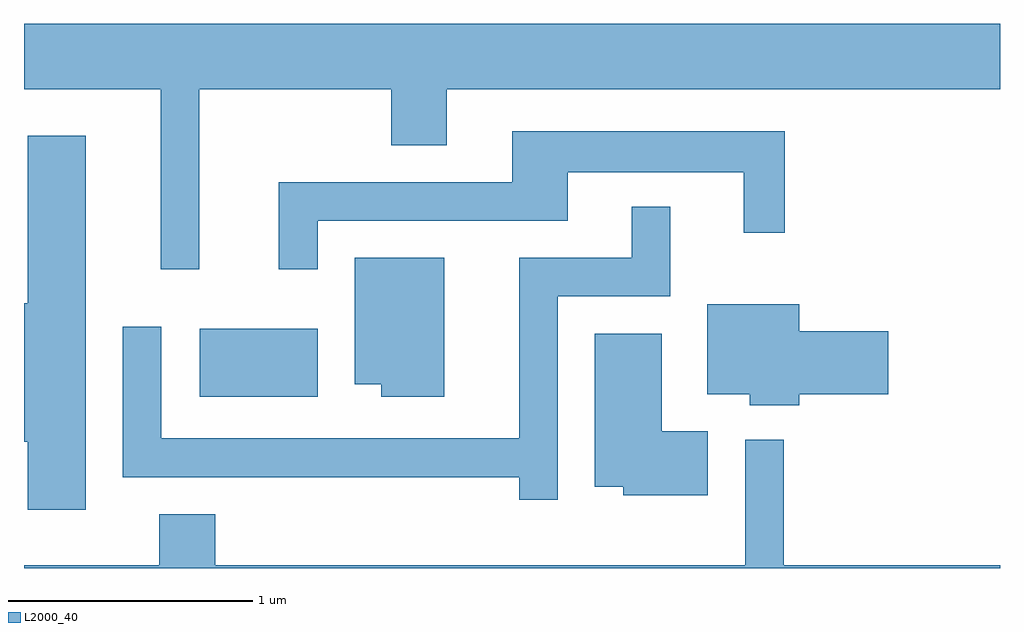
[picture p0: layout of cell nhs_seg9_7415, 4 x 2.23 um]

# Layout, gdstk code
import gdstk
lib = gdstk.Library(unit=1e-6, precision=1e-09)
def R(c, l, rs):  # rectangles x0, y0, x1, y1
    for r in rs: c.add(gdstk.rectangle(r[:2], r[2:], *l))
def P(c, l, *ps):  # polygons
    for p in ps: c.add(gdstk.Polygon(p, *l))
L2000_40 = (2000, 40)

nhs_seg9_7415 = lib.new_cell('nhs_seg9_7415')
R(nhs_seg9_7415, L2000_40, [(404.331,2077.136,404.814,2077.414)])
P(nhs_seg9_7415, L2000_40, [(404.329,2078.396),(405.116,2078.396),(405.116,2078.166),(405.344,2078.166),(405.344,2078.396),(407.611,2078.396),(407.611,2078.664),(403.611,2078.664),(403.611,2078.396),(404.171,2078.396),(404.171,2077.658),(404.329,2077.658)],
  [(404.814,2077.856),(405.839,2077.856),(405.839,2078.056),(406.561,2078.056),(406.561,2077.808),(406.729,2077.808),(406.729,2078.224),(405.611,2078.224),(405.611,2078.014),(404.656,2078.014),(404.656,2077.658),(404.814,2077.658)],
  [(403.864,2078.204),(403.626,2078.204),(403.626,2077.519),(403.611,2077.519),(403.611,2076.951),(403.626,2076.951),(403.626,2076.671),(403.864,2076.671)],
  [(405.799,2077.546),(406.259,2077.546),(406.259,2077.913),(406.101,2077.913),(406.101,2077.704),(405.641,2077.704),(405.641,2076.964),(404.174,2076.964),(404.174,2077.423),(404.016,2077.423),(404.016,2076.806),(405.641,2076.806),(405.641,2076.713),(405.799,2076.713)],
  [(405.334,2077.704),(404.966,2077.704),(404.966,2077.186),(405.076,2077.186),(405.076,2077.136),(405.334,2077.136)],
  [(406.789,2077.146),(407.154,2077.146),(407.154,2077.404),(406.789,2077.404),(406.789,2077.514),(406.411,2077.514),(406.411,2077.146),(406.586,2077.146),(406.586,2077.101),(406.789,2077.101)],
  [(406.414,2076.994),(406.224,2076.994),(406.224,2077.394),(405.951,2077.394),(405.951,2076.766),(406.066,2076.766),(406.066,2076.731),(406.414,2076.731)],
  [(407.611,2076.444),(406.724,2076.444),(406.724,2076.958),(406.566,2076.958),(406.566,2076.444),(404.394,2076.444),(404.394,2076.654),(404.166,2076.654),(404.166,2076.444),(403.611,2076.444),(403.611,2076.432),(407.611,2076.432)])

lib.write_gds('nhs_seg9_7415.gds')
